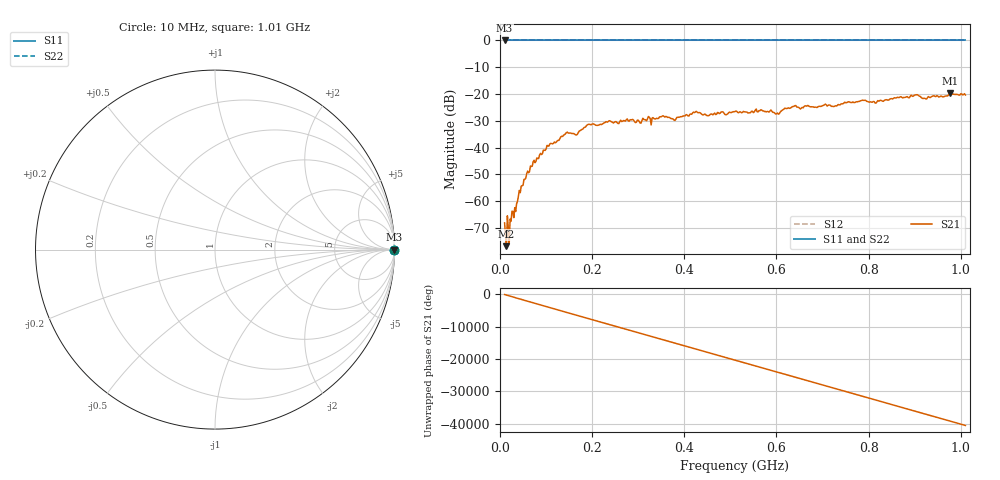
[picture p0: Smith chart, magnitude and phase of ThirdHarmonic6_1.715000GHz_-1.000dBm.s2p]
! 8/16/2025 8:38:18 PM
! C:\ANRITSUVNA\TEMP\TEMP.S2P
! CHANNEL.1
! TR.MEASUREMENT
! RAW.DATA
! RF.CORRECTION.OFF
! AVERAGING.OFF
! IF.BANDWIDTH: 5KHZ
! SWEEPTYPE:  FREQ.SWEEP(Linear)
! Reference Plane Port Info
! PORT:  PORT1  PORT2
! DISTANCE:  0  m  0  m
! TIME:  0  s  0  s
! PHASE.OFFSET:  0  deg.  0  deg.
! LOSS:  0  dB  0  dB
! REF.LOSS:  0  dB  0  dB
! REF.FREQ:  0  Hz  0  Hz
! Power Info
! POWER:  -20  dBm  -20  dBm
! EFF.POWER:  -20  dBm  -20  dBm
! SOURCE.ATTEN:  0  dB  0  dB
! TEST.ATTEN:  0  dB  0  dB
# GHZ S RI R 50.0
! FREQ.GHZ  S11RE  S11IM  S21RE  S21IM  S12RE  S12IM  S22RE  S22IM
!; PortSelection: Port_12
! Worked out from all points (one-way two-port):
!   501 points, 10 MHz to 1.01 GHz, reference 50 ohm
!   highest |S21| = -19.75 dB at 976 MHz (marker M1); lowest = -76.9 dB at 14 MHz (marker M2)
!   lowest |S11| = 0.0 dB at 10 MHz (marker M3)
!   |S11| at or under -10 dB: nowhere
!   |S22| runs from 0.0 to 0.0 dB; largest |S21 - S12| = 1.1
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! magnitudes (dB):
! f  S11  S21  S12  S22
! 10 MHz  0.0  -68.1  0.0  0.0
! 14 MHz  0.0  -76.9  0.0  0.0
! 16 MHz  0.0  -65.5  0.0  0.0
! 44 MHz  0.0  -56.9  0.0  0.0
! 70 MHz  0.0  -47.0  0.0  0.0
! 106 MHz  0.0  -39.5  0.0  0.0
! 142 MHz  0.0  -34.9  0.0  0.0
! 166 MHz  0.0  -35.3  0.0  0.0
! 178 MHz  0.0  -33.2  0.0  0.0
! 192 MHz  0.0  -31.3  0.0  0.0
! 234 MHz  0.0  -30.4  0.0  0.0
! 344 MHz  0.0  -29.1  0.0  0.0
! 378 MHz  0.0  -29.8  0.0  0.0
! 424 MHz  0.0  -26.7  0.0  0.0
! 452 MHz  0.0  -28.1  0.0  0.0
! 510 MHz  0.0  -26.6  0.0  0.0
! 602 MHz  0.0  -27.1  0.0  0.0
! 638 MHz  0.0  -24.6  0.0  0.0
! 678 MHz  0.0  -24.8  0.0  0.0
! 844 MHz  0.0  -22.2  0.0  0.0
! 976 MHz  0.0  -19.7  0.0  0.0
! 1.01 GHz  0.0  -20.4  0.0  0.0
